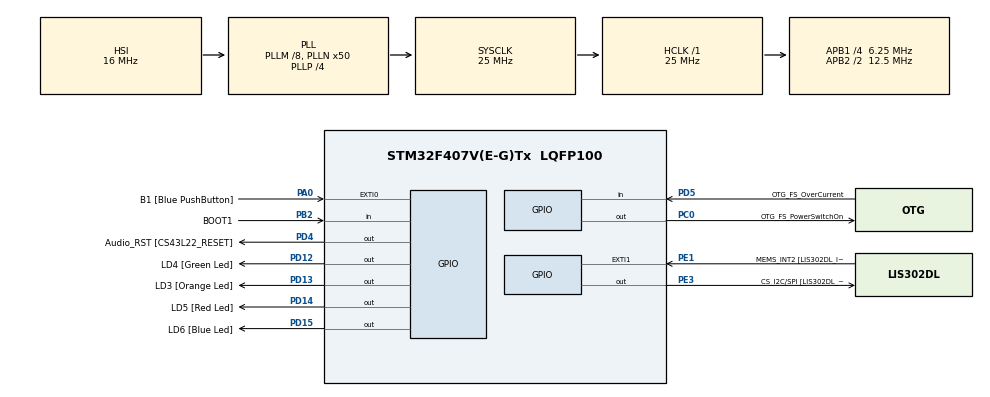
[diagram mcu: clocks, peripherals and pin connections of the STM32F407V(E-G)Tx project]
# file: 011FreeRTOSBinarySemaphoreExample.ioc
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Mcu.Family=STM32F4
Mcu.Name=STM32F407V(E-G)Tx
Mcu.Package=LQFP100
NVIC.PriorityGroup=NVIC_PRIORITYGROUP_0
NVIC.TIM6_DAC_IRQn=true\:0\:0\:false\:false\:true\:false\:true\:true
NVIC.TimeBase=TIM6_DAC_IRQn
NVIC.TimeBaseIP=TIM6
PA0-WKUP.GPIO_Label=B1 [Blue PushButton]
PA0-WKUP.Signal=GPXTI0
PA10.GPIO_Label=OTG_FS_ID
PA10.GPIO_Mode=GPIO_MODE_AF_PP
PA10.GPIO_PuPd=GPIO_NOPULL
PA10.GPIO_Speed=GPIO_SPEED_FREQ_LOW
PA10.Signal=USB_OTG_FS_ID
PA11.GPIO_Label=OTG_FS_DM
PA11.GPIO_Mode=GPIO_MODE_AF_PP
PA11.GPIO_PuPd=GPIO_NOPULL
PA11.GPIO_Speed=GPIO_SPEED_FREQ_LOW
PA11.Signal=USB_OTG_FS_DM
PA12.GPIO_Label=OTG_FS_DP
PA12.GPIO_Mode=GPIO_MODE_AF_PP
PA12.GPIO_PuPd=GPIO_NOPULL
PA12.GPIO_Speed=GPIO_SPEED_FREQ_LOW
PA12.Signal=USB_OTG_FS_DP
PA13.GPIO_Label=SWDIO
PA13.Signal=SYS_JTMS-SWDIO
PA14.GPIO_Label=SWCLK
PA14.Signal=SYS_JTCK-SWCLK
PA4.GPIO_Label=I2S3_WS [CS43L22_LRCK]
PA4.GPIO_Mode=GPIO_MODE_AF_PP
PA4.GPIO_PuPd=GPIO_NOPULL
PA4.GPIO_Speed=GPIO_SPEED_FREQ_LOW
PA4.Signal=I2S3_WS
PA5.GPIO_Label=SPI1_SCK [LIS302DL_SCL/SPC]
PA5.GPIO_Mode=GPIO_MODE_AF_PP
PA5.GPIO_PuPd=GPIO_NOPULL
PA5.GPIO_Speed=GPIO_SPEED_FREQ_LOW
PA5.Signal=SPI1_SCK
PA6.GPIO_Label=SPI1_MISO [LIS302DL_SDO]
PA6.GPIO_Mode=GPIO_MODE_AF_PP
PA6.GPIO_PuPd=GPIO_NOPULL
PA6.GPIO_Speed=GPIO_SPEED_FREQ_LOW
PA6.Signal=SPI1_MISO
PA7.GPIO_Label=SPI1_MOSI [LIS302DL_SDA/SDI/SDO]
PA7.GPIO_Mode=GPIO_MODE_AF_PP
PA7.GPIO_PuPd=GPIO_NOPULL
PA7.GPIO_Speed=GPIO_SPEED_FREQ_LOW
PA7.Signal=SPI1_MOSI
PA9.GPIO_Label=VBUS_FS
PA9.GPIO_Mode=GPIO_MODE_INPUT
PA9.GPIO_PuPd=GPIO_NOPULL
PA9.Signal=USB_OTG_FS_VBUS
PB10.GPIO_Label=CLK_IN [MP45DT02_CLK]
PB10.GPIO_Mode=GPIO_MODE_AF_PP
PB10.GPIO_PuPd=GPIO_NOPULL
PB10.GPIO_Speed=GPIO_SPEED_FREQ_LOW
PB10.Signal=I2S2_CK
PB2.GPIO_Label=BOOT1
PB2.GPIO_Mode=GPIO_MODE_INPUT
PB2.GPIO_PuPd=GPIO_NOPULL
PB2.Signal=GPIO_Input
PB3.GPIO_Label=SWO
PB3.Signal=SYS_JTDO-SWO
PB6.GPIO_Label=Audio_SCL [CS43L22_SCL]
PB6.GPIO_Mode=GPIO_MODE_AF_OD
PB6.GPIO_PuPd=GPIO_NOPULL
PB6.GPIO_Speed=GPIO_SPEED_FREQ_LOW
PB6.Signal=I2C1_SCL
PB9.GPIO_Label=Audio_SDA [CS43L22_SDA]
PB9.GPIO_Mode=GPIO_MODE_AF_OD
PB9.GPIO_PuPd=GPIO_NOPULL
PB9.GPIO_Speed=GPIO_SPEED_FREQ_LOW
PB9.Signal=I2C1_SDA
PC0.GPIO_Label=OTG_FS_PowerSwitchOn
PC0.GPIO_PuPd=GPIO_NOPULL
PC0.GPIO_Speed=GPIO_SPEED_FREQ_LOW
PC0.PinState=GPIO_PIN_SET
PC0.Signal=GPIO_Output
PC10.GPIO_Label=I2S3_SCK [CS43L22_SCLK]
PC10.GPIO_Mode=GPIO_MODE_AF_PP
PC10.GPIO_PuPd=GPIO_NOPULL
PC10.GPIO_Speed=GPIO_SPEED_FREQ_LOW
PC10.Signal=I2S3_CK
PC12.GPIO_Label=I2S3_SD [CS43L22_SDIN]
PC12.GPIO_Mode=GPIO_MODE_AF_PP
PC12.GPIO_PuPd=GPIO_NOPULL
PC12.GPIO_Speed=GPIO_SPEED_FREQ_LOW
PC12.Signal=I2S3_SD
PC14-OSC32_IN.GPIO_Label=PC14-OSC32_IN
PC14-OSC32_IN.Signal=RCC_OSC32_IN
PC15-OSC32_OUT.GPIO_Label=PC15-OSC32_OUT
PC15-OSC32_OUT.Signal=RCC_OSC32_OUT
PC3.GPIO_Label=PDM_OUT [MP45DT02_DOUT]
PC3.GPIO_Mode=GPIO_MODE_AF_PP
PC3.GPIO_PuPd=GPIO_NOPULL
PC3.GPIO_Speed=GPIO_SPEED_FREQ_LOW
PC3.Signal=I2S2_SD
PC7.GPIO_Label=I2S3_MCK [CS43L22_MCLK]
PC7.GPIO_Mode=GPIO_MODE_AF_PP
PC7.GPIO_PuPd=GPIO_NOPULL
PC7.GPIO_Speed=GPIO_SPEED_FREQ_LOW
PC7.Signal=I2S3_MCK
PD12.GPIO_Label=LD4 [Green Led]
PD12.GPIO_PuPd=GPIO_NOPULL
PD12.GPIO_Speed=GPIO_SPEED_FREQ_LOW
PD12.Signal=GPIO_Output
PD13.GPIO_Label=LD3 [Orange Led]
PD13.GPIO_PuPd=GPIO_NOPULL
PD13.GPIO_Speed=GPIO_SPEED_FREQ_LOW
PD13.Signal=GPIO_Output
PD14.GPIO_Label=LD5 [Red Led]
PD14.GPIO_PuPd=GPIO_NOPULL
PD14.GPIO_Speed=GPIO_SPEED_FREQ_LOW
PD14.Signal=GPIO_Output
PD15.GPIO_Label=LD6 [Blue Led]
PD15.GPIO_PuPd=GPIO_NOPULL
PD15.GPIO_Speed=GPIO_SPEED_FREQ_LOW
PD15.Signal=GPIO_Output
PD4.GPIO_Label=Audio_RST [CS43L22_RESET]
PD4.GPIO_PuPd=GPIO_NOPULL
PD4.GPIO_Speed=GPIO_SPEED_FREQ_LOW
PD4.Signal=GPIO_Output
PD5.GPIO_Label=OTG_FS_OverCurrent
PD5.GPIO_Mode=GPIO_MODE_INPUT
PD5.GPIO_PuPd=GPIO_NOPULL
PD5.Signal=GPIO_Input
PE1.GPIO_Label=MEMS_INT2 [LIS302DL_INT2]
PE1.GPIO_ModeDefaultEXTI=GPIO_MODE_EVT_RISING
PE1.GPIO_PuPd=GPIO_NOPULL
PE1.Signal=GPXTI1
PE3.GPIO_Label=CS_I2C/SPI [LIS302DL_CS_I2C/SPI]
PE3.GPIO_PuPd=GPIO_NOPULL
PE3.GPIO_Speed=GPIO_SPEED_FREQ_LOW
PE3.Signal=GPIO_Output
PH0-OSC_IN.GPIO_Label=PH0-OSC_IN
PH0-OSC_IN.Signal=RCC_OSC_IN
PH1-OSC_OUT.GPIO_Label=PH1-OSC_OUT
PH1-OSC_OUT.Signal=RCC_OSC_OUT
ProjectManager.HeapSize=0x200
ProjectManager.StackSize=0x400
ProjectManager.TargetToolchain=STM32CubeIDE
RCC.48MHZClocksFreq_Value=14285714.285714285
RCC.AHBFreq_Value=25000000
RCC.APB1CLKDivider=RCC_HCLK_DIV4
RCC.APB1Freq_Value=6250000
RCC.APB1TimFreq_Value=12500000
RCC.APB2CLKDivider=RCC_HCLK_DIV2
RCC.APB2Freq_Value=12500000
RCC.APB2TimFreq_Value=25000000
RCC.CortexFreq_Value=25000000
RCC.HCLKFreq_Value=25000000
RCC.HSE_VALUE=8000000
RCC.HSI_VALUE=16000000
RCC.LSE_VALUE=32768
RCC.PLLM=8
RCC.PLLN=50
RCC.PLLP=RCC_PLLP_DIV4
RCC.PLLQ=7
RCC.SYSCLKFreq_VALUE=25000000
RCC.SYSCLKSource=RCC_SYSCLKSOURCE_PLLCLK
RCC.VCOOutputFreq_Value=100000000
VP_SYS_VS_tim6.Mode=TIM6
board=STM32F407G-DISC1

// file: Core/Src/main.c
/* USER CODE BEGIN Header */
/**
  ******************************************************************************
  * @file           : main.c
  * @brief          : Main program body
  ******************************************************************************
  * @attention
  *
  * Copyright (c) 2024 STMicroelectronics.
  * All rights reserved.
  *
  * This software is licensed under terms that can be found in the LICENSE file
  * in the root directory of this software component.
  * If no LICENSE file comes with this software, it is provided AS-IS.
  *
  ******************************************************************************
  */
/* USER CODE END Header */
#include "main.h"

/* USER CODE BEGIN Includes */
#include <stdint.h>
#include <stdlib.h>
#include "FreeRTOS.h"
#include "task.h"
#include "semphr.h"
/* USER CODE END Includes */

/* USER CODE BEGIN PD */
#define DWT_CTRL					(*(volatile uint32_t *) 0xE0001000U)
#define MANAGER_TASK_DELAY			25
#define MANAGER_TASK_FAIL_DELAY		10
/* USER CODE END PD */

/* USER CODE BEGIN PV */
TaskHandle_t task_handle_manager_task;

SemaphoreHandle_t TaskSemaphore = NULL;

/* USER CODE END PV */

void SystemClock_Config(void);
static void MX_GPIO_Init(void);
/* USER CODE BEGIN PFP */
static void manager_task(void *params);
static void get_pending_report(void);
/* USER CODE END PFP */

int main(void)
{
  /* USER CODE BEGIN 1 */
	BaseType_t status;

  /* USER CODE END 1 */

  /* MCU Configuration--------------------------------------------------------*/

  /* Reset of all peripherals, Initializes the Flash interface and the Systick. */
  HAL_Init();

  /* Configure the system clock */
  SystemClock_Config();

  /* Initialize all configured peripherals */
  MX_GPIO_Init();
  /* USER CODE BEGIN 2 */
  //Enable the DWT (Data Watch Point) Cycle Count Feature
  DWT_CTRL |= (1 << 0);

  //Enabling SEGGER SYSVIEW event tracing
  SEGGER_SYSVIEW_Conf();
  SEGGER_SYSVIEW_Start();

  status = xTaskCreate(manager_task,"manager_task",1024,NULL,2,&task_handle_manager_task);
  configASSERT(status == pdPASS);

  TaskSemaphore = xSemaphoreCreateBinary();
  configASSERT(TaskSemaphore != NULL);

  vTaskStartScheduler();
  /* USER CODE END 2 */

  /* Infinite loop */
  while (1)
  {

  }
}

void SystemClock_Config(void)
{
  RCC_OscInitTypeDef RCC_OscInitStruct = {0};
  RCC_ClkInitTypeDef RCC_ClkInitStruct = {0};

  /** Configure the main internal regulator output voltage
  */
  __HAL_RCC_PWR_CLK_ENABLE();
  __HAL_PWR_VOLTAGESCALING_CONFIG(PWR_REGULATOR_VOLTAGE_SCALE1);

  /** Initializes the RCC Oscillators according to the specified parameters
  * in the RCC_OscInitTypeDef structure.
  */
  RCC_OscInitStruct.OscillatorType = RCC_OSCILLATORTYPE_HSI;
  RCC_OscInitStruct.HSIState = RCC_HSI_ON;
  RCC_OscInitStruct.HSICalibrationValue = RCC_HSICALIBRATION_DEFAULT;
  RCC_OscInitStruct.PLL.PLLState = RCC_PLL_ON;
  RCC_OscInitStruct.PLL.PLLSource = RCC_PLLSOURCE_HSI;
  RCC_OscInitStruct.PLL.PLLM = 8;
  RCC_OscInitStruct.PLL.PLLN = 50;
  RCC_OscInitStruct.PLL.PLLP = RCC_PLLP_DIV4;
  RCC_OscInitStruct.PLL.PLLQ = 7;
  if (HAL_RCC_OscConfig(&RCC_OscInitStruct) != HAL_OK)
  {
    Error_Handler();
  }

  /** Initializes the CPU, AHB and APB buses clocks
  */
  RCC_ClkInitStruct.ClockType = RCC_CLOCKTYPE_HCLK|RCC_CLOCKTYPE_SYSCLK
                              |RCC_CLOCKTYPE_PCLK1|RCC_CLOCKTYPE_PCLK2;
  RCC_ClkInitStruct.SYSCLKSource = RCC_SYSCLKSOURCE_PLLCLK;
  RCC_ClkInitStruct.AHBCLKDivider = RCC_SYSCLK_DIV1;
  RCC_ClkInitStruct.APB1CLKDivider = RCC_HCLK_DIV4;
  RCC_ClkInitStruct.APB2CLKDivider = RCC_HCLK_DIV2;

  if (HAL_RCC_ClockConfig(&RCC_ClkInitStruct, FLASH_LATENCY_0) != HAL_OK)
  {
    Error_Handler();
  }
}

static void MX_GPIO_Init(void)
{
  GPIO_InitTypeDef GPIO_InitStruct = {0};

  /* GPIO Ports Clock Enable */
  __HAL_RCC_GPIOE_CLK_ENABLE();
  __HAL_RCC_GPIOC_CLK_ENABLE();
  __HAL_RCC_GPIOH_CLK_ENABLE();
  __HAL_RCC_GPIOA_CLK_ENABLE();
  __HAL_RCC_GPIOB_CLK_ENABLE();
  __HAL_RCC_GPIOD_CLK_ENABLE();

  /*Configure GPIO pin Output Level */
  HAL_GPIO_WritePin(CS_I2C_SPI_GPIO_Port, CS_I2C_SPI_Pin, GPIO_PIN_RESET);

  /*Configure GPIO pin Output Level */
  HAL_GPIO_WritePin(OTG_FS_PowerSwitchOn_GPIO_Port, OTG_FS_PowerSwitchOn_Pin, GPIO_PIN_SET);

  /*Configure GPIO pin Output Level */
  HAL_GPIO_WritePin(GPIOD, LD4_Pin|LD3_Pin|LD5_Pin|LD6_Pin
                          |Audio_RST_Pin, GPIO_PIN_RESET);

  /*Configure GPIO pin : CS_I2C_SPI_Pin */
  GPIO_InitStruct.Pin = CS_I2C_SPI_Pin;
  GPIO_InitStruct.Mode = GPIO_MODE_OUTPUT_PP;
  GPIO_InitStruct.Pull = GPIO_NOPULL;
  GPIO_InitStruct.Speed = GPIO_SPEED_FREQ_LOW;
  HAL_GPIO_Init(CS_I2C_SPI_GPIO_Port, &GPIO_InitStruct);

  /*Configure GPIO pin : OTG_FS_PowerSwitchOn_Pin */
  GPIO_InitStruct.Pin = OTG_FS_PowerSwitchOn_Pin;
  GPIO_InitStruct.Mode = GPIO_MODE_OUTPUT_PP;
  GPIO_InitStruct.Pull = GPIO_NOPULL;
  GPIO_InitStruct.Speed = GPIO_SPEED_FREQ_LOW;
  HAL_GPIO_Init(OTG_FS_PowerSwitchOn_GPIO_Port, &GPIO_InitStruct);

  /*Configure GPIO pin : PDM_OUT_Pin */
  GPIO_InitStruct.Pin = PDM_OUT_Pin;
  GPIO_InitStruct.Mode = GPIO_MODE_AF_PP;
  GPIO_InitStruct.Pull = GPIO_NOPULL;
  GPIO_InitStruct.Speed = GPIO_SPEED_FREQ_LOW;
  GPIO_InitStruct.Alternate = GPIO_AF5_SPI2;
  HAL_GPIO_Init(PDM_OUT_GPIO_Port, &GPIO_InitStruct);

  /*Configure GPIO pin : B1_Pin */
  GPIO_InitStruct.Pin = B1_Pin;
  GPIO_InitStruct.Mode = GPIO_MODE_IT_RISING;
  GPIO_InitStruct.Pull = GPIO_NOPULL;
  HAL_GPIO_Init(B1_GPIO_Port, &GPIO_InitStruct);

  /*Configure GPIO pin : I2S3_WS_Pin */
  GPIO_InitStruct.Pin = I2S3_WS_Pin;
  GPIO_InitStruct.Mode = GPIO_MODE_AF_PP;
  GPIO_InitStruct.Pull = GPIO_NOPULL;
  GPIO_InitStruct.Speed = GPIO_SPEED_FREQ_LOW;
  GPIO_InitStruct.Alternate = GPIO_AF6_SPI3;
  HAL_GPIO_Init(I2S3_WS_GPIO_Port, &GPIO_InitStruct);

  /*Configure GPIO pins : SPI1_SCK_Pin SPI1_MISO_Pin SPI1_MOSI_Pin */
  GPIO_InitStruct.Pin = SPI1_SCK_Pin|SPI1_MISO_Pin|SPI1_MOSI_Pin;
  GPIO_InitStruct.Mode = GPIO_MODE_AF_PP;
  GPIO_InitStruct.Pull = GPIO_NOPULL;
  GPIO_InitStruct.Speed = GPIO_SPEED_FREQ_LOW;
  GPIO_InitStruct.Alternate = GPIO_AF5_SPI1;
  HAL_GPIO_Init(GPIOA, &GPIO_InitStruct);

  /*Configure GPIO pin : BOOT1_Pin */
  GPIO_InitStruct.Pin = BOOT1_Pin;
  GPIO_InitStruct.Mode = GPIO_MODE_INPUT;
  GPIO_InitStruct.Pull = GPIO_NOPULL;
  HAL_GPIO_Init(BOOT1_GPIO_Port, &GPIO_InitStruct);

  /*Configure GPIO pin : CLK_IN_Pin */
  GPIO_InitStruct.Pin = CLK_IN_Pin;
  GPIO_InitStruct.Mode = GPIO_MODE_AF_PP;
  GPIO_InitStruct.Pull = GPIO_NOPULL;
  GPIO_InitStruct.Speed = GPIO_SPEED_FREQ_LOW;
  GPIO_InitStruct.Alternate = GPIO_AF5_SPI2;
  HAL_GPIO_Init(CLK_IN_GPIO_Port, &GPIO_InitStruct);

  /*Configure GPIO pins : LD4_Pin LD3_Pin LD5_Pin LD6_Pin
                           Audio_RST_Pin */
  GPIO_InitStruct.Pin = LD4_Pin|LD3_Pin|LD5_Pin|LD6_Pin
                          |Audio_RST_Pin;
  GPIO_InitStruct.Mode = GPIO_MODE_OUTPUT_PP;
  GPIO_InitStruct.Pull = GPIO_NOPULL;
  GPIO_InitStruct.Speed = GPIO_SPEED_FREQ_LOW;
  HAL_GPIO_Init(GPIOD, &GPIO_InitStruct);

  /*Configure GPIO pins : I2S3_MCK_Pin I2S3_SCK_Pin I2S3_SD_Pin */
  GPIO_InitStruct.Pin = I2S3_MCK_Pin|I2S3_SCK_Pin|I2S3_SD_Pin;
  GPIO_InitStruct.Mode = GPIO_MODE_AF_PP;
  GPIO_InitStruct.Pull = GPIO_NOPULL;
  GPIO_InitStruct.Speed = GPIO_SPEED_FREQ_LOW;
  GPIO_InitStruct.Alternate = GPIO_AF6_SPI3;
  HAL_GPIO_Init(GPIOC, &GPIO_InitStruct);

  /*Configure GPIO pin : VBUS_FS_Pin */
  GPIO_InitStruct.Pin = VBUS_FS_Pin;
  GPIO_InitStruct.Mode = GPIO_MODE_INPUT;
  GPIO_InitStruct.Pull = GPIO_NOPULL;
  HAL_GPIO_Init(VBUS_FS_GPIO_Port, &GPIO_InitStruct);

  /*Configure GPIO pins : OTG_FS_ID_Pin OTG_FS_DM_Pin OTG_FS_DP_Pin */
  GPIO_InitStruct.Pin = OTG_FS_ID_Pin|OTG_FS_DM_Pin|OTG_FS_DP_Pin;
  GPIO_InitStruct.Mode = GPIO_MODE_AF_PP;
  GPIO_InitStruct.Pull = GPIO_NOPULL;
  GPIO_InitStruct.Speed = GPIO_SPEED_FREQ_LOW;
  GPIO_InitStruct.Alternate = GPIO_AF10_OTG_FS;
  HAL_GPIO_Init(GPIOA, &GPIO_InitStruct);

  /*Configure GPIO pin : OTG_FS_OverCurrent_Pin */
  GPIO_InitStruct.Pin = OTG_FS_OverCurrent_Pin;
  GPIO_InitStruct.Mode = GPIO_MODE_INPUT;
  GPIO_InitStruct.Pull = GPIO_NOPULL;
  HAL_GPIO_Init(OTG_FS_OverCurrent_GPIO_Port, &GPIO_InitStruct);

  /*Configure GPIO pins : Audio_SCL_Pin Audio_SDA_Pin */
  GPIO_InitStruct.Pin = Audio_SCL_Pin|Audio_SDA_Pin;
  GPIO_InitStruct.Mode = GPIO_MODE_AF_OD;
  GPIO_InitStruct.Pull = GPIO_NOPULL;
  GPIO_InitStruct.Speed = GPIO_SPEED_FREQ_LOW;
  GPIO_InitStruct.Alternate = GPIO_AF4_I2C1;
  HAL_GPIO_Init(GPIOB, &GPIO_InitStruct);

  /*Configure GPIO pin : MEMS_INT2_Pin */
  GPIO_InitStruct.Pin = MEMS_INT2_Pin;
  GPIO_InitStruct.Mode = GPIO_MODE_EVT_RISING;
  GPIO_InitStruct.Pull = GPIO_NOPULL;
  HAL_GPIO_Init(MEMS_INT2_GPIO_Port, &GPIO_InitStruct);

}

/* USER CODE BEGIN 4 */
static void manager_task(void *params)
{
	static uint32_t task_count = 0;

	while(1)
	{
		if(xSemaphoreGive(TaskSemaphore) == pdTRUE)
		{
			task_count++;
			SEGGER_SYSVIEW_PrintfHost("Manager: xSemaphoreGive() Success. Task %d added",task_count);
			get_pending_report();
			vTaskDelay(MANAGER_TASK_DELAY);
		}
		else
		{
			SEGGER_SYSVIEW_PrintfHost("Manager: xSemaphoreGive() Failed - Buffer Overflow()");
			get_pending_report();
			vTaskDelay(MANAGER_TASK_FAIL_DELAY);
		}
	}
}

static void get_pending_report(void)
{
	UBaseType_t pending_tasks;

	pending_tasks = uxSemaphoreGetCount(TaskSemaphore);
	SEGGER_SYSVIEW_PrintfHost("Pending Tasks: %d",pending_tasks);
}

/* USER CODE END 4 */

void HAL_TIM_PeriodElapsedCallback(TIM_HandleTypeDef *htim)
{
  if (htim->Instance == TIM6) {
    HAL_IncTick();
  }
}

void Error_Handler(void)
{
  __disable_irq();
  while (1)
  {
  }
}
